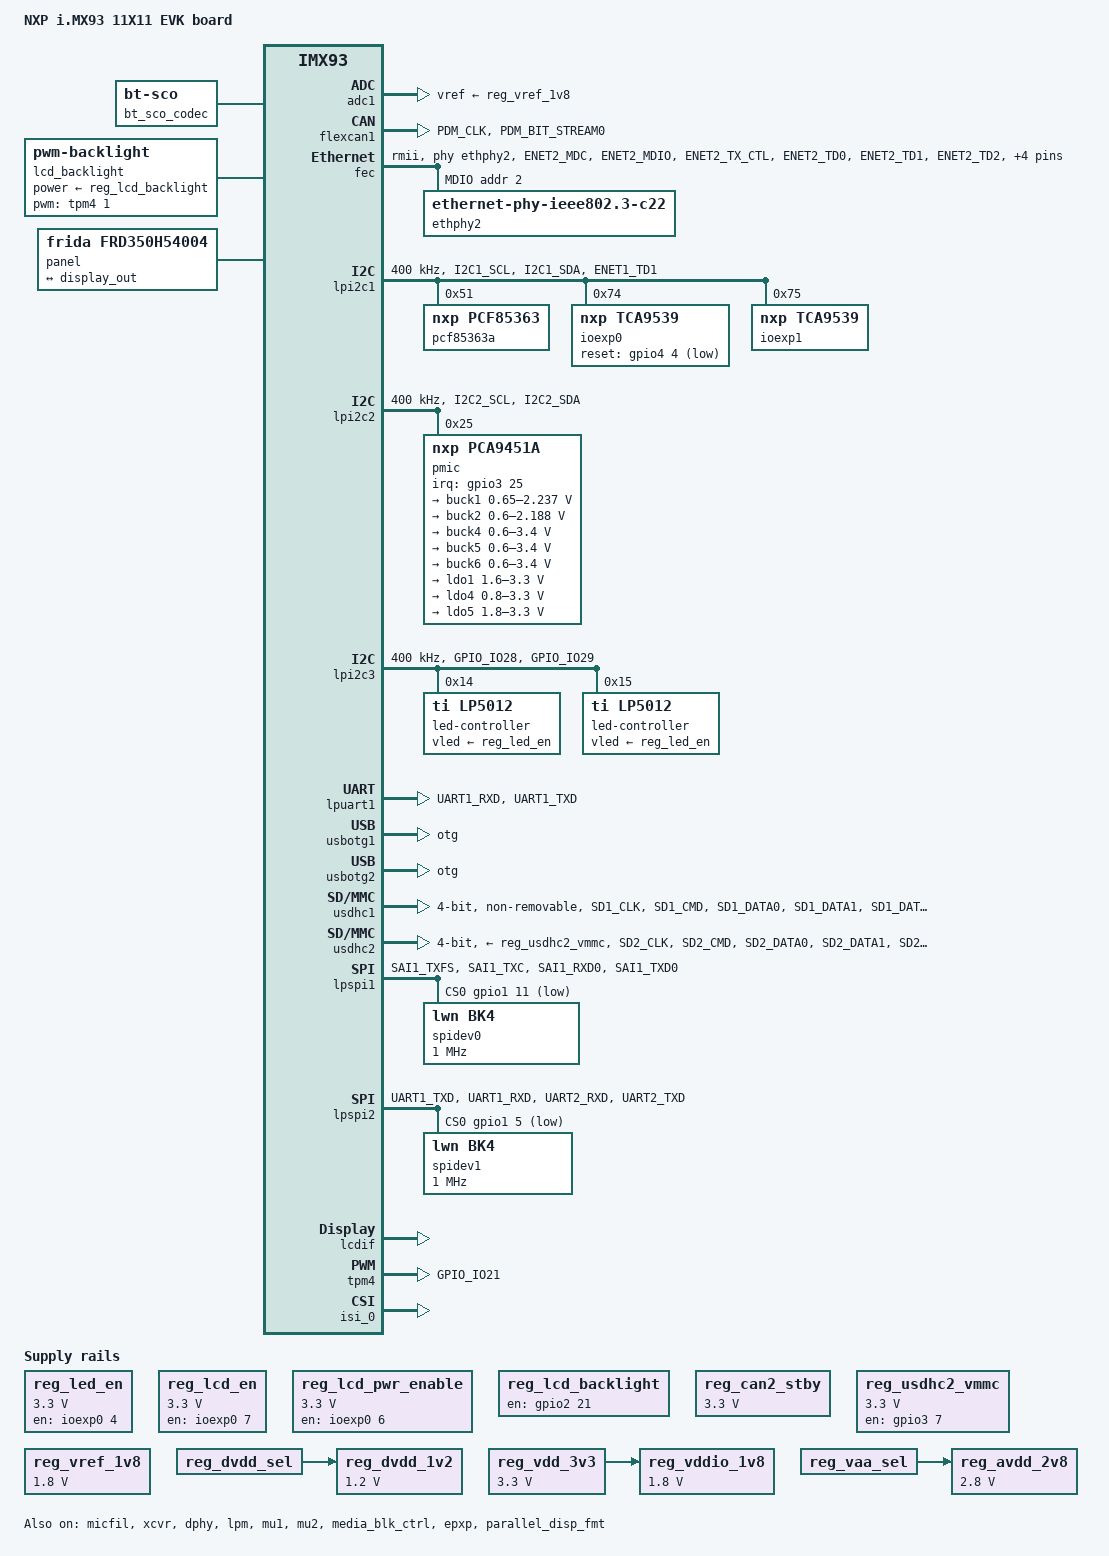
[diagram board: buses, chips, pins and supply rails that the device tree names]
// SPDX-License-Identifier: (GPL-2.0+ OR MIT)
/*
 * Copyright 2022 NXP
 */

/dts-v1/;

#include <dt-bindings/usb/pd.h>
#include "imx93.dtsi"
#include <dt-bindings/leds/common.h>

&ele_mu {
	memory-region = <&ele_reserved>;
};

/ {
	model = "NXP i.MX93 11X11 EVK board";
	compatible = "fsl,imx93-11x11-evk", "fsl,imx93";

	chosen {
		stdout-path = &lpuart1;
	};

	reserved-memory {
		#address-cells = <2>;
		#size-cells = <2>;
		ranges;

		linux,cma {
			compatible = "shared-dma-pool";
			reusable;
			alloc-ranges = <0 0x80000000 0 0x40000000>;
			size = <0 0x10000000>;
			linux,cma-default;
		};

		ethosu_mem: ethosu_region@C0000000 {
			compatible = "shared-dma-pool";
			reusable;
			reg = <0x0 0xC0000000 0x0 0x10000000>;
		};

		vdev0vring0: vdev0vring0@a4000000 {
			reg = <0 0xa4000000 0 0x8000>;
			no-map;
		};

		vdev0vring1: vdev0vring1@a4008000 {
			reg = <0 0xa4008000 0 0x8000>;
			no-map;
		};

		vdev1vring0: vdev1vring0@a4000000 {
			reg = <0 0xa4010000 0 0x8000>;
			no-map;
		};

		vdev1vring1: vdev1vring1@a4018000 {
			reg = <0 0xa4018000 0 0x8000>;
			no-map;
		};

		rsc_table: rsc-table@2021f000 {
			reg = <0 0x2021f000 0 0x1000>;
			no-map;
		};

		vdevbuffer: vdevbuffer@a4020000 {
			compatible = "shared-dma-pool";
			reg = <0 0xa4020000 0 0x100000>;
			no-map;
		};

		ele_reserved: ele-reserved@a4120000 {
			compatible = "shared-dma-pool";
			reg = <0 0xa4120000 0 0x100000>;
			no-map;
		};
	};

	cm33: imx93-cm33 {
		compatible = "fsl,imx93-cm33";
		mbox-names = "tx", "rx", "rxdb";
		mboxes = <&mu1 0 1
			  &mu1 1 1
			  &mu1 3 1>;
		memory-region = <&vdevbuffer>, <&vdev0vring0>, <&vdev0vring1>,
				<&vdev1vring0>, <&vdev1vring1>, <&rsc_table>;
		fsl,startup-delay-ms = <500>;
	};

	ethosu {
		compatible = "arm,ethosu";
		fsl,cm33-proc = <&cm33>;
		memory-region = <&ethosu_mem>;
		power-domains = <&mlmix>;
	};

	reg_led_en: regulator-led-enable {
		compatible = "regulator-fixed";
		regulator-name = "led-en";
		regulator-min-microvolt = <3300000>;
		regulator-max-microvolt = <3300000>;
		gpio = <&ioexp0 4 GPIO_ACTIVE_HIGH>;
		enable-active-high;
		regulator-boot-on;
		regulator-always-on;
	};
    
	reg_lcd_en: regulator-lcd-enable {
		compatible = "regulator-fixed";
		regulator-name = "lcd-en";
		regulator-min-microvolt = <3300000>;
		regulator-max-microvolt = <3300000>;
		gpio = <&ioexp0 7 GPIO_ACTIVE_HIGH>;
		enable-active-high;
		regulator-boot-on;
		regulator-always-on;
	};
    
	reg_lcd_pwr_enable: regulator-lcd-pwr-enable {
		compatible = "regulator-fixed";
		regulator-name = "lcd-pwr-enable";
		regulator-min-microvolt = <3300000>;
		regulator-max-microvolt = <3300000>;
		gpio = <&ioexp0 6 GPIO_ACTIVE_HIGH>;
		enable-active-high;
		regulator-boot-on;
		regulator-always-on;
	};

	reg_lcd_backlight: regulator-lcd-backlight{
		compatible = "regulator-fixed";
		regulator-name = "lcd-backlight";
		gpio = <&gpio2 21 GPIO_ACTIVE_HIGH>;
		enable-active-high;
		regulator-boot-on;
		regulator-always-on;
		startup-delay-us = <5000>;
	};

	reg_can2_stby: regulator-can2-stby {
		compatible = "regulator-fixed";
		regulator-name = "can2-stby";
		regulator-min-microvolt = <3300000>;
		regulator-max-microvolt = <3300000>;
		// gpio = <&adp5585gpio 5 GPIO_ACTIVE_LOW>;
		enable-active-low;
	};

	reg_usdhc2_vmmc: regulator-usdhc2 {
		compatible = "regulator-fixed";
		pinctrl-names = "default";
		pinctrl-0 = <&pinctrl_reg_usdhc2_vmmc>;
		regulator-name = "VSD_3V3";
		regulator-min-microvolt = <3300000>;
		regulator-max-microvolt = <3300000>;
		gpio = <&gpio3 7 GPIO_ACTIVE_HIGH>;
		off-on-delay-us = <12000>;
		enable-active-high;
	};

	reg_vref_1v8: regulator-adc-vref {
		compatible = "regulator-fixed";
		regulator-name = "vref_1v8";
		regulator-min-microvolt = <1800000>;
		regulator-max-microvolt = <1800000>;
	};

	reg_dvdd_sel: regulator-dvdd_sel {
		compatible = "regulator-fixed";
		regulator-name = "DVDD_SEL";
		// gpio = <&adp5585gpio_isp 0 GPIO_ACTIVE_HIGH>;
		enable-active-high;
		startup-delay-us = <2000>;
	};

	reg_dvdd_1v2: regulator-dvdd {
		compatible = "regulator-fixed";
		regulator-name = "DVDD_1V2";
		// gpio = <&adp5585gpio_isp 6 GPIO_ACTIVE_HIGH>;
		regulator-min-microvolt = <1200000>;
		regulator-max-microvolt = <1200000>;
		enable-active-high;
		vin-supply = <&reg_dvdd_sel>;
	};

	reg_vdd_3v3: regulator-vdd {
		compatible = "regulator-fixed";
		regulator-name = "VDD_3V3";
		// gpio = <&adp5585gpio_isp 5 GPIO_ACTIVE_HIGH>;
		regulator-min-microvolt = <3300000>;
		regulator-max-microvolt = <3300000>;
		startup-delay-us = <4000>;
		enable-active-high;
	};

	reg_vddio_1v8: regulator-vddo {
		compatible = "regulator-fixed";
		regulator-name = "VDDIO_1V8";
		// gpio = <&adp5585gpio_isp 9 GPIO_ACTIVE_HIGH>;
		regulator-min-microvolt = <1800000>;
		regulator-max-microvolt = <1800000>;
		startup-delay-us = <4000>;
		enable-active-high;
		vin-supply = <&reg_vdd_3v3>;
	};

	reg_vaa_sel: regulator-vaa_sel {
		compatible = "regulator-fixed";
		regulator-name = "VAA_SEL";
		// gpio = <&adp5585gpio_isp 1 GPIO_ACTIVE_HIGH>;
		enable-active-high;
	};

	reg_avdd_2v8: regulator-avdd {
		compatible = "regulator-fixed";
		regulator-name = "AVDD_2V8";
		// gpio = <&adp5585gpio_isp 7 GPIO_ACTIVE_HIGH>;
		regulator-min-microvolt = <2800000>;
		regulator-max-microvolt = <2800000>;
		enable-active-high;
		vin-supply = <&reg_vaa_sel>;
	};

	bt_sco_codec: bt_sco_codec {
		#sound-dai-cells = <1>;
		compatible = "linux,bt-sco";
	};

	lcd_backlight: lcd_backlight {
		compatible = "pwm-backlight";
		pwms = <&tpm4 1 50000 0>;
		brightness-levels = <0 20 25 30 50 80 100>;
		default-brightness-level = <6>;
		power-supply = <&reg_lcd_backlight>;
		status = "okay";
	};

	panel {
		compatible = "frida,frd350h54004";
		status = "okay";

		port {
			panel_in: endpoint {
				remote-endpoint = <&display_out>;
			};
		};
	};
};

&gpio3 {
	gpio-line-names = 
		"0",
		"1",
		"2",
		"3",
		"4",
		"5",
		"6",
		"7",
		"8",
		"9",
		"10",
		"11",
		"12",
		"13",
		"14",
		"15",
		"16",
		"17",
		"18",
		"19",
		"20",
		"21",
		"22",
		"23",
		"24",
		"25",
		"CELL_RSTn",
		"CELL_PWRKEY",
		"28",
		"29",
		"30",
		"31";
};

&gpio4 {
	pinctrl-names = "default";
	pinctrl-0 = <&pinctrl_gpio4>;
	gpio-line-names = 
		"0", 
		"1", 
		"2", 
		"3", 
		"ioexp_en",
		"5",
		"6",
		"7",
		"8",
		"WIFI_WAKEn",
		"10",
		"11",
		"12",
		"13",
		"14",
		"15",
		"16",
		"17",
		"18",
		"19",
		"20",
		"21",
		"22",
		"23",
		"24",
		"25",
		"26",
		"27",
		"CELL_W_ENABLE",
		"CELL_SIM_SEL",
		"30",
		"31";
};

&micfil {
	#sound-dai-cells = <0>;
	pinctrl-names = "default";
	pinctrl-0 = <&pinctrl_pdm>;
	assigned-clocks = <&clk IMX93_CLK_PDM>;
	assigned-clock-parents = <&clk IMX93_CLK_AUDIO_PLL>;
	assigned-clock-rates = <49152000>;
	status = "okay";
};

&xcvr {
	#sound-dai-cells = <0>;
	pinctrl-names = "default";
	pinctrl-0 = <&pinctrl_spdif>;
	clocks = <&clk IMX93_CLK_BUS_WAKEUP>,
		<&clk IMX93_CLK_SPDIF_GATE>,
		<&clk IMX93_CLK_DUMMY>,
		<&clk IMX93_CLK_AUD_XCVR_GATE>,
		<&clk IMX93_CLK_AUDIO_PLL>;
	clock-names = "ipg", "phy", "spba", "pll_ipg", "pll8k";
	assigned-clocks = <&clk IMX93_CLK_SPDIF>,
			 <&clk IMX93_CLK_AUDIO_XCVR>;
	assigned-clock-parents = <&clk IMX93_CLK_AUDIO_PLL>,
			 <&clk IMX93_CLK_SYS_PLL_PFD1_DIV2>;
	assigned-clock-rates = <12288000>, <200000000>;
	status = "okay";
};
	
&adc1 {
	vref-supply = <&reg_vref_1v8>;
	status = "okay";
};

&dphy {
	status = "okay";
};

&dsi {
	status = "disabled";
};

&flexcan1 { /* console */
	pinctrl-names = "default";
	pinctrl-0 = <&pinctrl_flexcan1>;
	status = "okay";
};

&flexcan2 { /* console */
	// pinctrl-names = "default";
	// pinctrl-0 = <&pinctrl_flexcan2>;
	// status = "okay";
};


&eqos {
	pinctrl-names = "default";
	pinctrl-0 = <&pinctrl_eqos>;
	phy-mode = "rgmii-id";
	phy-handle = <&ethphy1>;
	status = "disabled";

	mdio {
		compatible = "snps,dwmac-mdio";
		#address-cells = <1>;
		#size-cells = <0>;
		clock-frequency = <5000000>;

		ethphy1: ethernet-phy@1 {
			compatible = "ethernet-phy-ieee802.3-c22";
			reg = <1>;
			eee-broken-1000t;
		};
	};
};

&fec {
	pinctrl-names = "default";
	pinctrl-0 = <&pinctrl_fec>;
	phy-mode = "rmii";
	phy-handle = <&ethphy2>;
	fsl,magic-packet;
	status = "okay";

	mdio {
		#address-cells = <1>;
		#size-cells = <0>;
		clock-frequency = <2500000>;

		ethphy2: ethernet-phy@2 {
			compatible = "ethernet-phy-ieee802.3-c22";
			reg = <2>;
			eee-broken-1000t;
		};
	};
};

&lpm {
	soc-supply = <&buck1>;
	status = "okay";
};

/*
 * When add, delete or change any target device setting in &lpi2c1,
 * please synchronize the changes to the &i3c1 bus in imx93-11x11-evk-i3c.dts.
 */
&lpi2c1 {
	#address-cells = <1>;
	#size-cells = <0>;
	clock-frequency = <400000>;
	pinctrl-names = "default", "sleep";
	pinctrl-0 = <&pinctrl_lpi2c1>;
	pinctrl-1 = <&pinctrl_lpi2c1>;
	status = "okay";

	pcf85363a: rtc@51 {
			compatible = "nxp,pcf85363";
			reg = <0x51>;
			status = "okay";
			#clock-cells = <0>;
	};

	ioexp0: gpio@74 {
		compatible = "nxp,tca9539";
		reg = <0x74>;
		reset-gpios = <&gpio4 4 GPIO_ACTIVE_LOW>;
		gpio-controller;
		#gpio-cells = <2>;
		gpio-line-names =	"WIFI_PWR_OK",
							"WIFI_PWR_EN",
							"CAN1_DISABLE",
							"CAN2_DISABLE",
							"STATUS_LED_EN",
							"LCD_PWR_OK",
							"LCD_PWR_EN",
							"LCD_EN",
							"nc",
							"RFID_ENABLE",
							"SPI2_ENABLE",
							"HMI_PWR_OK",
							"HMI_PWR_EN",
							"CHG_CAPGOOD",
							"CHGn_PFW",
							"CHG_ENABLE";
	};

	ioexp1: gpio@75 {
		compatible = "nxp,tca9539";
		reg = <0x75>;
		//reset-gpios = <&gpio4 4 GPIO_ACTIVE_LOW>;
		gpio-controller;
		#gpio-cells = <2>;
		gpio-line-names =	"DEBUG0",
							"DEBUG1",
							"DEBUG2",
							"DEBUG3",
							"APP_GPIO1",
							"APP_GPIO2",
							"APP_GPIO3",
							"nc",
							"BT_EN",
							"WIFI_EN",
							"nc",
							"nc",
							"SPI2_RSTn",
							"FLEXSPI_RSTn",
							"nc",
							"nc";

	};

};

&lpi2c2 {
	#address-cells = <1>;
	#size-cells = <0>;
	clock-frequency = <400000>;
	pinctrl-names = "default", "sleep";
	pinctrl-0 = <&pinctrl_lpi2c2>;
	pinctrl-1 = <&pinctrl_lpi2c2>;
	status = "okay";

	pmic@25 {
		compatible = "nxp,pca9451a";
		reg = <0x25>;
		interrupt-parent = <&gpio3>;
		interrupts = <25 IRQ_TYPE_EDGE_FALLING>;

		regulators {
			buck1: BUCK1 {
				regulator-name = "BUCK1";
				regulator-min-microvolt = <650000>;
				regulator-max-microvolt = <2237500>;
				regulator-boot-on;
				regulator-always-on;
				regulator-ramp-delay = <3125>;
			};

			buck2: BUCK2 {
				regulator-name = "BUCK2";
				regulator-min-microvolt = <600000>;
				regulator-max-microvolt = <2187500>;
				regulator-boot-on;
				regulator-always-on;
				regulator-ramp-delay = <3125>;
			};

			buck4: BUCK4{
				regulator-name = "BUCK4";
				regulator-min-microvolt = <600000>;
				regulator-max-microvolt = <3400000>;
				regulator-boot-on;
				regulator-always-on;
			};

			buck5: BUCK5{
				regulator-name = "BUCK5";
				regulator-min-microvolt = <600000>;
				regulator-max-microvolt = <3400000>;
				regulator-boot-on;
				regulator-always-on;
			};

			buck6: BUCK6 {
				regulator-name = "BUCK6";
				regulator-min-microvolt = <600000>;
				regulator-max-microvolt = <3400000>;
				regulator-boot-on;
				regulator-always-on;
			};

			ldo1: LDO1 {
				regulator-name = "LDO1";
				regulator-min-microvolt = <1600000>;
				regulator-max-microvolt = <3300000>;
				regulator-boot-on;
				regulator-always-on;
			};

			ldo4: LDO4 {
				regulator-name = "LDO4";
				regulator-min-microvolt = <800000>;
				regulator-max-microvolt = <3300000>;
				regulator-boot-on;
				regulator-always-on;
			};

			ldo5: LDO5 {
				regulator-name = "LDO5";
				regulator-min-microvolt = <1800000>;
				regulator-max-microvolt = <3300000>;
				regulator-boot-on;
				regulator-always-on;
			};
		};
	};

};

&lpi2c3 {
	#address-cells = <1>;
	#size-cells = <0>;
	clock-frequency = <400000>;
	pinctrl-names = "default", "sleep";
	pinctrl-0 = <&pinctrl_lpi2c3>;
	pinctrl-1 = <&pinctrl_lpi2c3>;
	status = "okay";

	led-controller@14 {
		compatible = "ti,lp5012";
		reg = <0x14>;
		#address-cells = <1>;
		#size-cells = <0>;
		vled-supply = <&reg_led_en>;

		multi-led@0 {
			#address-cells = <1>;
			#size-cells = <0>;
			reg = <0>;
			color = <LED_COLOR_ID_RGB>;
			label = "status_0";

			led@1 {
				reg = <0x0>;
				color = <LED_COLOR_ID_BLUE>;
			};

			led@2 {
				reg = <0x1>;
				color = <LED_COLOR_ID_GREEN>;
			};

			led@3 {
				reg = <0x2>;
				color = <LED_COLOR_ID_RED>;
			};
		};

		multi-led@1 {
			#address-cells = <1>;
			#size-cells = <0>;
			reg = <1>;
			color = <LED_COLOR_ID_RGB>;
			label = "status_1";

			led@1 {
				reg = <0x3>;
				color = <LED_COLOR_ID_BLUE>;
			};

			led@2 {
				reg = <0x4>;
				color = <LED_COLOR_ID_GREEN>;
			};

			led@3 {
				reg = <0x5>;
				color = <LED_COLOR_ID_RED>;
			};
		};

		multi-led@2 {
			#address-cells = <1>;
			#size-cells = <0>;
			reg = <2>;
			color = <LED_COLOR_ID_RGB>;
			label = "status_2";

			led@1 {
				reg = <0x6>;
				color = <LED_COLOR_ID_BLUE>;
			};

			led@2 {
				reg = <0x7>;
				color = <LED_COLOR_ID_GREEN>;
			};

			led@3 {
				reg = <0x8>;
				color = <LED_COLOR_ID_RED>;
			};
		};
		multi-led@3 {
			#address-cells = <1>;
			#size-cells = <0>;
			reg = <3>;
			color = <LED_COLOR_ID_RGB>;
			label = "status_3";

			led@1 {
				reg = <0x9>;
				color = <LED_COLOR_ID_BLUE>;
			};

			led@2 {
				reg = <0xa>;
				color = <LED_COLOR_ID_GREEN>;
			};

			led@3 {
				reg = <0xb>;
				color = <LED_COLOR_ID_RED>;
			};
		};
	};

	led-controller@15 {
		compatible = "ti,lp5012";
		reg = <0x15>;
		#address-cells = <1>;
		#size-cells = <0>;
		vled-supply = <&reg_led_en>;

		multi-led@0 {
			#address-cells = <1>;
			#size-cells = <0>;
			reg = <0>;
			color = <LED_COLOR_ID_RGB>;
			label = "status_4";

			led@1 {
				reg = <0x0>;
				color = <LED_COLOR_ID_BLUE>;
			};

			led@2 {
				reg = <0x1>;
				color = <LED_COLOR_ID_GREEN>;
			};

			led@3 {
				reg = <0x2>;
				color = <LED_COLOR_ID_RED>;
			};
		};

		multi-led@1 {
			#address-cells = <1>;
			#size-cells = <0>;
			reg = <1>;
			color = <LED_COLOR_ID_RGB>;
			label = "status_5";

			led@1 {
				reg = <0x3>;
				color = <LED_COLOR_ID_BLUE>;
			};

			led@2 {
				reg = <0x4>;
				color = <LED_COLOR_ID_GREEN>;
			};

			led@3 {
				reg = <0x5>;
				color = <LED_COLOR_ID_RED>;
			};
		};

		multi-led@2 {
			#address-cells = <1>;
			#size-cells = <0>;
			reg = <2>;
			color = <LED_COLOR_ID_RGB>;
			label = "status_6";

			led@1 {
				reg = <0x6>;
				color = <LED_COLOR_ID_BLUE>;
			};

			led@2 {
				reg = <0x7>;
				color = <LED_COLOR_ID_GREEN>;
			};

			led@3 {
				reg = <0x8>;
				color = <LED_COLOR_ID_RED>;
			};
		};
		multi-led@3 {
			#address-cells = <1>;
			#size-cells = <0>;
			reg = <3>;
			color = <LED_COLOR_ID_RGB>;
			label = "status_7";

			led@1 {
				reg = <0x9>;
				color = <LED_COLOR_ID_BLUE>;
			};

			led@2 {
				reg = <0xa>;
				color = <LED_COLOR_ID_GREEN>;
			};

			led@3 {
				reg = <0xb>;
				color = <LED_COLOR_ID_RED>;
			};
		};
	};
};

&lpuart1 { /* console */
	pinctrl-names = "default";
	pinctrl-0 = <&pinctrl_uart1>;
	status = "okay";
};

&lpuart3 { /* console */
        pinctrl-names = "default";
        pinctrl-0 = <&pinctrl_uart3>;
        status = "disabled";
};

&lpuart5 {
	/* BT */
	// pinctrl-names = "default";
	// pinctrl-assert-gpios = <&pcal6524 19 GPIO_ACTIVE_HIGH>;
	// pinctrl-0 = <&pinctrl_uart5>;
	status = "disabled";

	bluetooth {
		compatible = "nxp,88w8987-bt";
	};
};

&mu1 {
	status = "okay";
};

&mu2 {
	status = "okay";
};

&usbotg1 {
	dr_mode = "otg";
	hnp-disable;
	srp-disable;
	adp-disable;
	usb-role-switch;
	disable-over-current;
	samsung,picophy-pre-emp-curr-control = <3>;
	samsung,picophy-dc-vol-level-adjust = <7>;
	status = "okay";
};

&usbotg2 {
	dr_mode = "otg";
	hnp-disable;
	srp-disable;
	adp-disable;
	usb-role-switch;
	disable-over-current;
	samsung,picophy-pre-emp-curr-control = <3>;
	samsung,picophy-dc-vol-level-adjust = <7>;
	status = "okay";
};

&usdhc1 {
	pinctrl-names = "default", "state_100mhz", "state_200mhz";
	pinctrl-0 = <&pinctrl_usdhc1>;
	pinctrl-1 = <&pinctrl_usdhc1>;
	pinctrl-2 = <&pinctrl_usdhc1>;
	bus-width = <4>;
	non-removable;
	status = "okay";
	no-mmc-hs400;
	max-frequency = <100000000>;
};

&usdhc2 {
	pinctrl-names = "default", "state_100mhz", "state_200mhz";
	pinctrl-0 = <&pinctrl_usdhc2>, <&pinctrl_usdhc2_gpio>;
	pinctrl-1 = <&pinctrl_usdhc2>, <&pinctrl_usdhc2_gpio>;
	pinctrl-2 = <&pinctrl_usdhc2>, <&pinctrl_usdhc2_gpio>;
	cd-gpios = <&gpio3 00 GPIO_ACTIVE_LOW>;
	vmmc-supply = <&reg_usdhc2_vmmc>;
	bus-width = <4>;
	status = "okay";
	no-sdio;
	no-mmc;
};

&lpspi1 {
	fsl,spi-num-chipselects = <1>;
	pinctrl-names = "default", "sleep";
	pinctrl-0 = <&pinctrl_lpspi1>;
	pinctrl-1 = <&pinctrl_lpspi1>;
	cs-gpios = <&gpio1 11 GPIO_ACTIVE_LOW>;
	//pinctrl-assert-gpios = <&adp5585gpio 4 GPIO_ACTIVE_HIGH>;
	status = "okay";

	spidev0: spi@0 {
		reg = <0>;
		compatible = "lwn,bk4";
		spi-max-frequency = <1000000>;
	};
};

&lpspi2 {
	fsl,spi-num-chipselects = <1>;
	pinctrl-names = "default", "sleep";
	pinctrl-0 = <&pinctrl_lpspi2>;
	pinctrl-1 = <&pinctrl_lpspi2>;
	cs-gpios = <&gpio1 5 GPIO_ACTIVE_LOW>;
	//pinctrl-assert-gpios = <&adp5585gpio 4 GPIO_ACTIVE_HIGH>;
	status = "okay";

	spidev1: spi@0 {
		reg = <0>;
		compatible = "lwn,bk4";
		spi-max-frequency = <1000000>;
	};
};

&media_blk_ctrl {
	status = "okay";
};

&epxp {
	status = "okay";
};

&lcdif {
	status = "okay";
	
    lcd_pwr = <&reg_lcd_pwr_enable>;
	lcd_en = <&reg_lcd_en>;

	fsl,interface-pix-fmt = "rgb888";
	assigned-clock-rates = <150000000>, <30000000>, <400000000>, <133333333>;
};


&parallel_disp_fmt {
    pinctrl-names = "default";
    pinctrl-0 = <&pinctrl_lcdif>;
	fsl,interface-pix-fmt = "rgb888";
	status = "okay";

    ports {
        port@1 {
            reg = <1>;
            display_out: endpoint {
                remote-endpoint = <&panel_in>;
            };
        };
    };
};

&tpm4 {
	pinctrl-names = "default";
	pinctrl-0 = <&pinctrl_pwm0>;
	status = "okay";
};

&iomuxc {
	pinctrl_flexcan1: flexcan1grp {
		fsl,pins = <
			MX93_PAD_PDM_CLK__CAN1_TX	        0x139e
			MX93_PAD_PDM_BIT_STREAM0__CAN1_RX	0x139e
		>;
	};

// These are wrong, recheck after 2nd spin of board is available.
// 	pinctrl_flexcan2: flexcan2grp {
// 		fsl,pins = <
// 			MX93_PAD_ENET2_TD3__FLEXIO2_FLEXIO16	0x139e
// 			MX93_PAD_ENET2_TD2__FLEXIO2_FLEXIO17	0x139e
// 		>;
// 	};


	pinctrl_lpi2c1: lpi2c1grp {
		fsl,pins = <
			MX93_PAD_I2C1_SCL__LPI2C1_SCL			0x40000b9e
			MX93_PAD_I2C1_SDA__LPI2C1_SDA			0x40000b9e
			MX93_PAD_ENET1_TD1__GPIO4_IO04 0x31e
		>;
	};

	pinctrl_lpi2c2: lpi2c2grp {
		fsl,pins = <
			MX93_PAD_I2C2_SCL__LPI2C2_SCL			0x40000b9e
			MX93_PAD_I2C2_SDA__LPI2C2_SDA			0x40000b9e
		>;
	};

	pinctrl_lpi2c3: lpi2c3grp {
		fsl,pins = <
			MX93_PAD_GPIO_IO28__LPI2C3_SDA			0x40000b9e
			MX93_PAD_GPIO_IO29__LPI2C3_SCL			0x40000b9e
		>;
	};

	pinctrl_eqos: eqosgrp {
		fsl,pins = <
			MX93_PAD_ENET1_MDC__ENET_QOS_MDC			0x57e
			MX93_PAD_ENET1_MDIO__ENET_QOS_MDIO			0x57e
			MX93_PAD_ENET1_RD0__ENET_QOS_RGMII_RD0			0x57e
			MX93_PAD_ENET1_RD1__ENET_QOS_RGMII_RD1			0x57e
			MX93_PAD_ENET1_RD2__ENET_QOS_RGMII_RD2			0x57e
			MX93_PAD_ENET1_RD3__ENET_QOS_RGMII_RD3			0x57e
			MX93_PAD_ENET1_RXC__CCM_ENET_QOS_CLOCK_GENERATE_RX_CLK	0x5fe
			MX93_PAD_ENET1_RX_CTL__ENET_QOS_RGMII_RX_CTL		0x57e
			MX93_PAD_ENET1_TD0__ENET_QOS_RGMII_TD0			0x57e
			MX93_PAD_ENET1_TD1__ENET_QOS_RGMII_TD1			0x57e
			MX93_PAD_ENET1_TD2__ENET_QOS_RGMII_TD2			0x57e
			MX93_PAD_ENET1_TD3__ENET_QOS_RGMII_TD3			0x57e
			MX93_PAD_ENET1_TXC__CCM_ENET_QOS_CLOCK_GENERATE_TX_CLK	0x5fe
			MX93_PAD_ENET1_TX_CTL__ENET_QOS_RGMII_TX_CTL		0x57e
		>;
	};

	pinctrl_fec: fecgrp {
		fsl,pins = <
			MX93_PAD_ENET2_MDC__ENET1_MDC			0x57e
			MX93_PAD_ENET2_MDIO__ENET1_MDIO			0x57e
			MX93_PAD_ENET2_TX_CTL__ENET1_RGMII_TX_CTL	0x57e
			MX93_PAD_ENET2_TD0__ENET1_RGMII_TD0		0x57e
			MX93_PAD_ENET2_TD1__ENET1_RGMII_TD1		0x57e
			MX93_PAD_ENET2_TD2__ENET1_RGMII_TD2		0x57e
			MX93_PAD_ENET2_RXC__ENET1_RGMII_RXC		0x5fe
			MX93_PAD_ENET2_RX_CTL__ENET1_RGMII_RX_CTL	0x57e
			MX93_PAD_ENET2_RD0__ENET1_RGMII_RD0		0x57e
			MX93_PAD_ENET2_RD1__ENET1_RGMII_RD1		0x57e
		>;
	};

	pinctrl_uart1: uart1grp {
		fsl,pins = <
			MX93_PAD_UART1_RXD__LPUART1_RX			0x31e
			MX93_PAD_UART1_TXD__LPUART1_TX			0x31e
		>;
};

	pinctrl_uart3: uart3grp {
		fsl,pins = <
			MX93_PAD_ENET1_RD0__LPUART3_RX			0x31e
			MX93_PAD_ENET1_TD0__LPUART3_TX			0x31e
		>;
	};

	pinctrl_uart5: uart5grp {
		fsl,pins = <
			MX93_PAD_DAP_TDO_TRACESWO__LPUART5_TX	0x31e
			MX93_PAD_DAP_TDI__LPUART5_RX		0x31e
			MX93_PAD_DAP_TMS_SWDIO__LPUART5_RTS_B	0x31e
			MX93_PAD_DAP_TCLK_SWCLK__LPUART5_CTS_B	0x31e
		>;
	};

	pinctrl_usdhc1: usdhc1grp {
		fsl,pins = <
			MX93_PAD_SD1_CLK__USDHC1_CLK		0x15fe
			MX93_PAD_SD1_CMD__USDHC1_CMD		0x13fe
			MX93_PAD_SD1_DATA0__USDHC1_DATA0	0x13fe
			MX93_PAD_SD1_DATA1__USDHC1_DATA1	0x13fe
			MX93_PAD_SD1_DATA2__USDHC1_DATA2	0x13fe
			MX93_PAD_SD1_DATA3__USDHC1_DATA3	0x13fe
			MX93_PAD_SD1_DATA4__USDHC1_DATA4	0x13fe
			MX93_PAD_SD1_DATA5__USDHC1_DATA5	0x13fe
			MX93_PAD_SD1_DATA6__USDHC1_DATA6	0x13fe
			MX93_PAD_SD1_DATA7__USDHC1_DATA7	0x13fe
			MX93_PAD_SD1_STROBE__USDHC1_STROBE	0x15fe
		>;
	};

	pinctrl_reg_usdhc2_vmmc: regusdhc2vmmcgrp {
		fsl,pins = <
			MX93_PAD_SD2_RESET_B__GPIO3_IO07	0x31e
		>;
	};

	pinctrl_usdhc2_gpio: usdhc2gpiogrp {
		fsl,pins = <
			MX93_PAD_SD2_CD_B__GPIO3_IO00		0x31e
		>;
	};

	pinctrl_usdhc2: usdhc2grp {
		fsl,pins = <
			MX93_PAD_SD2_CLK__USDHC2_CLK		0x15fe
			MX93_PAD_SD2_CMD__USDHC2_CMD		0x13fe
			MX93_PAD_SD2_DATA0__USDHC2_DATA0	0x13fe
			MX93_PAD_SD2_DATA1__USDHC2_DATA1	0x13fe
			MX93_PAD_SD2_DATA2__USDHC2_DATA2	0x13fe
			MX93_PAD_SD2_DATA3__USDHC2_DATA3	0x13fe
			MX93_PAD_SD2_VSELECT__USDHC2_VSELECT	0x51e
		>;
	};

	pinctrl_pdm: pdmgrp {
		fsl,pins = <
			MX93_PAD_PDM_CLK__PDM_CLK			0x31e
			MX93_PAD_PDM_BIT_STREAM0__PDM_BIT_STREAM00	0x31e
			MX93_PAD_PDM_BIT_STREAM1__PDM_BIT_STREAM01	0x31e
		>;
	};

	pinctrl_spdif: spdifgrp {
		fsl,pins = <
			MX93_PAD_GPIO_IO22__SPDIF_IN		0x31e
			MX93_PAD_GPIO_IO23__SPDIF_OUT		0x31e
		>;
	};

	pinctrl_lpspi1: lpspi1grp {
		fsl,pins = <
			MX93_PAD_SAI1_TXFS__GPIO1_IO11		0x3fe
			MX93_PAD_SAI1_TXC__LPSPI1_SIN		0x3fe
			MX93_PAD_SAI1_RXD0__LPSPI1_SOUT		0x3fe
			MX93_PAD_SAI1_TXD0__LPSPI1_SCK		0x3fe
		>;
	};

	pinctrl_lpspi2: lpspi2grp {
		fsl,pins = <
			MX93_PAD_UART1_TXD__GPIO1_IO05		0x3fe
			MX93_PAD_UART1_RXD__LPSPI2_SIN		0x3fe
			MX93_PAD_UART2_RXD__LPSPI2_SOUT		0x3fe
			MX93_PAD_UART2_TXD__LPSPI2_SCK		0x3fe
		>;
	};

	pinctrl_lcdif: lcdifgrp {
        fsl,pins = <
		    MX93_PAD_GPIO_IO00__MEDIAMIX_DISP_CLK	 0x31e
			MX93_PAD_GPIO_IO01__MEDIAMIX_DISP_DE     0x31e
            MX93_PAD_GPIO_IO07__MEDIAMIX_DISP_DATA03 0x31e
            MX93_PAD_GPIO_IO08__MEDIAMIX_DISP_DATA04 0x31e
            MX93_PAD_GPIO_IO09__MEDIAMIX_DISP_DATA05 0x31e
            MX93_PAD_GPIO_IO10__MEDIAMIX_DISP_DATA06 0x31e
            MX93_PAD_GPIO_IO11__MEDIAMIX_DISP_DATA07 0x31e
            MX93_PAD_GPIO_IO14__MEDIAMIX_DISP_DATA10 0x31e
            MX93_PAD_GPIO_IO15__MEDIAMIX_DISP_DATA11 0x31e
            MX93_PAD_GPIO_IO16__MEDIAMIX_DISP_DATA12 0x31e
            MX93_PAD_GPIO_IO17__MEDIAMIX_DISP_DATA13 0x31e
            MX93_PAD_GPIO_IO18__MEDIAMIX_DISP_DATA14 0x31e
            MX93_PAD_GPIO_IO19__MEDIAMIX_DISP_DATA15 0x31e
            MX93_PAD_GPIO_IO23__MEDIAMIX_DISP_DATA19 0x31e
            MX93_PAD_GPIO_IO24__MEDIAMIX_DISP_DATA20 0x31e
            MX93_PAD_GPIO_IO25__MEDIAMIX_DISP_DATA21 0x31e
            MX93_PAD_GPIO_IO26__MEDIAMIX_DISP_DATA22 0x31e
            MX93_PAD_GPIO_IO27__MEDIAMIX_DISP_DATA23 0x31e
            MX93_PAD_GPIO_IO03__MEDIAMIX_DISP_HSYNC  0x31e
            MX93_PAD_GPIO_IO02__MEDIAMIX_DISP_VSYNC  0x31e
        >;
    };

	pinctrl_pwm0: pwm0grp {
		fsl,pins = <
			MX93_PAD_GPIO_IO21__TPM4_CH1	0x2
		>;
	};

};

&isi_0 {
	status = "okay";

	cap_device {
		status = "okay";
	};
};

